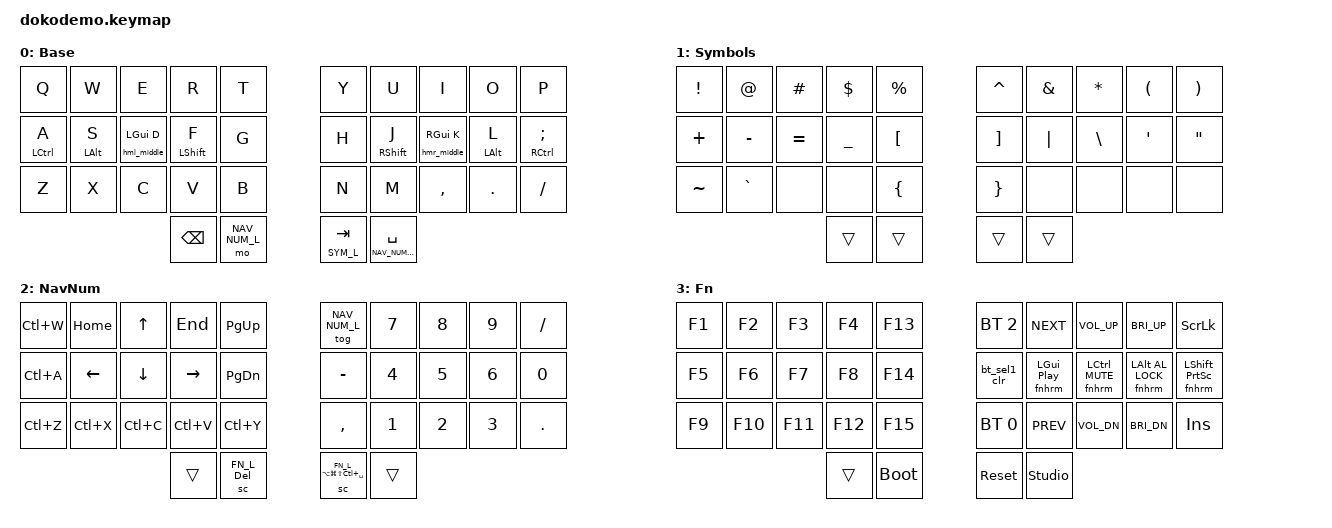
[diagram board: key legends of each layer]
// Copyright (c) 2022 The ZMK Contributors
// SPDX-License-Identifier: MIT

#include <behaviors.dtsi>
#include <dt-bindings/zmk/bt.h>
#include <dt-bindings/zmk/keys.h>
#include "includes/behaviors.dtsi"

#define BASE_L 0
#define SYM_L 1
#define NAV_NUM_L 2
#define FN_L 3

/ {
    keymap {
        compatible = "zmk,keymap";

        base_layer {
            display-name = "Base";
            bindings = <
        //╭──────────┬──────────┬──────────┬──────────┬──────────╮   ╭──────────┬──────────┬──────────┬──────────┬──────────╮
            &kp Q      &kp W      &kp E      &kp R      &kp T          &kp Y      &kp U      &kp I      &kp O      &kp P
        //├──────────┼──────────┼──────────┼──────────┼──────────┤   ├──────────┼──────────┼──────────┼──────────┼──────────┤
            &hml_pinky LCTRL A &hml_ring LALT S &hml_middle LGUI D &hml_index LSHFT F &kp G     &kp H      &hmr_index RSHFT J &hmr_middle RGUI K &hmr_ring LALT L &hmr_pinky RCTRL SEMI
        //├──────────┼──────────┼──────────┼──────────┼──────────┤   ├──────────┼──────────┼──────────┼──────────┼──────────┤
            &kp Z      &kp X      &kp C      &kp V      &kp B          &kp N      &kp M      &kp COMMA  &kp DOT    &kp FSLH
        //╰──────────┴──────────┴──────────┼──────────┼──────────┤   ├──────────┼──────────┼──────────┴──────────┴──────────╯
                                         &kp BSPC  &mo NAV_NUM_L    &lt SYM_L TAB  &lt NAV_NUM_L SPACE
        //                                 ╰──────────┴──────────╯   ╰──────────┴──────────╯
            >;
        };

        symbols_layer {
            display-name = "Symbols";
            bindings = <
            &kp EXCL   &kp AT     &kp HASH   &kp DLLR   &kp PRCNT      &kp CARET   &kp AMPS   &kp STAR   &kp LPAR   &kp RPAR
            &kp PLUS   &kp MINUS  &kp EQUAL  &kp UNDER  &kp LBKT       &kp RBKT    &kp PIPE   &kp BSLH   &kp SQT    &kp DQT
            &kp TILDE  &kp GRAVE  &none      &none      &kp LBRC       &kp RBRC    &none      &none      &none      &none
                                             &trans     &trans             &trans       &trans
            >;
        };

        nav_num_layer {
            display-name = "NavNum";
            bindings = <
            &kp LC(W)  &kp HOME   &kp UP     &kp END    &kp PG_UP      &tog NAV_NUM_L  &kp N7     &kp N8     &kp N9     &kp FSLH
            &kp LC(A)  &kp LEFT   &kp DOWN   &kp RIGHT  &kp PG_DN      &kp MINUS        &kp N4     &kp N5     &kp N6     &kp N0
            &kp LC(Z)  &kp LC(X)  &kp LC(C)  &kp LC(V)  &kp LC(Y)      &kp COMMA        &kp N1     &kp N2     &kp N3     &kp DOT
                                             &trans     &sc FN_L DEL       &sc FN_L LA(LG(LS(LC(SPACE))))  &trans
            >;
        };

        fn_layer {
            display-name = "Fn";
            bindings = <
            &kp F1     &kp F2     &kp F3     &kp F4     &kp F13        &bt BT_SEL 2  &kp C_NEXT   &kp C_VOL_UP  &kp C_BRI_UP  &kp SLCK
            &kp F5     &kp F6     &kp F7     &kp F8     &kp F14        &bt_sel1_clr  &fnhrm LGUI C_PP  &fnhrm LCTRL C_MUTE  &fnhrm LALT C_AL_LOCK  &fnhrm LSHIFT PSCRN
            &kp F9     &kp F10    &kp F11    &kp F12    &kp F15        &bt BT_SEL 0  &kp C_PREV   &kp C_VOL_DN  &kp C_BRI_DN  &kp INS
                                             &trans     &bootloader        &sys_reset     &studio_unlock
            >;
        };
    };

    combos {
        compatible = "zmk,combos";

        //     0  1  2  3  4     5  6  7  8  9
        //     10 11 12 13 14    15 16 17 18 19
        //     20 21 22 23 24    25 26 27 28 29
        //              30 31    32 33
        combo_caps_word {
            timeout-ms = <40>;
            key-positions = <20 29>;
            bindings = <&caps_word>;
            require-prior-idle-ms = <200>;
        };

        combo_escape {
            timeout-ms = <90>;
            key-positions = <1 2>;
            bindings = <&kp ESC>;
            require-prior-idle-ms = <50>;
        };

        combo_tab {
            timeout-ms = <90>;
            key-positions = <21 22>;
            bindings = <&kp TAB>;
            require-prior-idle-ms = <50>;
        };

        combo_enter_home {
            timeout-ms = <50>;
            key-positions = <17 18>;
            bindings = <&kp ENTER>;
            require-prior-idle-ms = <50>;
        };
    };
};
